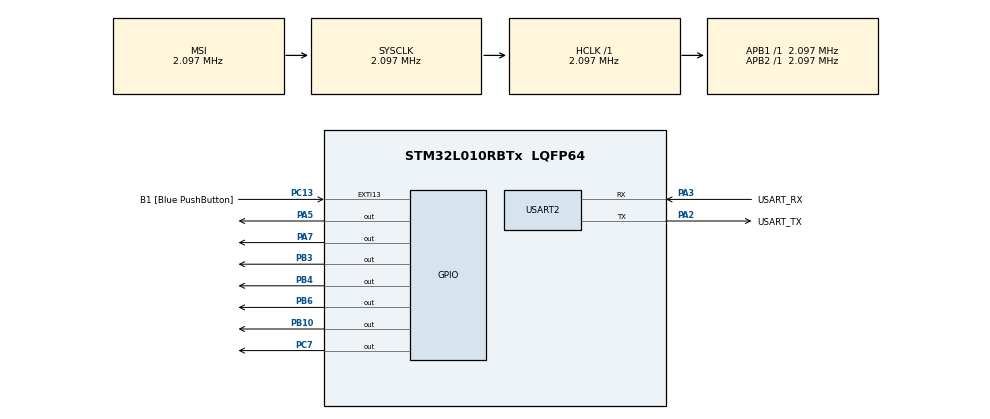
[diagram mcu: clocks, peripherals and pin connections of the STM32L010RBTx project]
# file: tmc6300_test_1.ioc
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Mcu.Family=STM32L0
Mcu.Name=STM32L010RBTx
Mcu.Package=LQFP64
PA13.GPIO_Label=TMS
PA13.Mode=Serial_Wire
PA13.Signal=SYS_SWDIO
PA14.GPIO_Label=TCK
PA14.Mode=Serial_Wire
PA14.Signal=SYS_SWCLK
PA2.GPIO_Label=USART_TX
PA2.Mode=Asynchronous
PA2.Signal=USART2_TX
PA3.GPIO_Label=USART_RX
PA3.Mode=Asynchronous
PA3.Signal=USART2_RX
PA5.Signal=GPIO_Output
PA7.Signal=GPIO_Output
PB10.Signal=GPIO_Output
PB3.Signal=GPIO_Output
PB4.Signal=GPIO_Output
PB6.Signal=GPIO_Output
PC13.GPIO_Label=B1 [Blue PushButton]
PC13.GPIO_ModeDefaultEXTI=GPIO_MODE_IT_FALLING
PC13.Signal=GPXTI13
PC14-OSC32_IN.Mode=LSE-External-Oscillator
PC14-OSC32_IN.Signal=RCC_OSC32_IN
PC15-OSC32_OUT.Mode=LSE-External-Oscillator
PC15-OSC32_OUT.Signal=RCC_OSC32_OUT
PC7.Signal=GPIO_Output
PH0-OSC_IN.GPIO_Label=MCO
PH0-OSC_IN.Mode=HSE-External-Clock-Source
PH0-OSC_IN.Signal=RCC_OSC_IN
ProjectManager.HeapSize=0x200
ProjectManager.StackSize=0x400
ProjectManager.TargetToolchain=STM32CubeIDE
RCC.AHBFreq_Value=2097000
RCC.APB1Freq_Value=2097000
RCC.APB1TimFreq_Value=2097000
RCC.APB2Freq_Value=2097000
RCC.APB2TimFreq_Value=2097000
RCC.HSE_VALUE=8000000
RCC.HSI16_VALUE=16000000
RCC.HSI48_VALUE=48000000
RCC.HSI_VALUE=16000000
RCC.MSI_VALUE=2097000
RCC.SYSCLKFreq_VALUE=2097000
RCC.VCOOutputFreq_Value=48000000
USART2.VirtualMode-Asynchronous=VM_ASYNC
board=NUCLEO-L010RB

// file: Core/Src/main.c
/* USER CODE BEGIN Header */
/**
  ******************************************************************************
  * @file           : main.c
  * @brief          : Main program body
  ******************************************************************************
  * @attention
  *
  * Copyright (c) 2021 STMicroelectronics.
  * All rights reserved.
  *
  * This software is licensed under terms that can be found in the LICENSE file
  * in the root directory of this software component.
  * If no LICENSE file comes with this software, it is provided AS-IS.
  *
  ******************************************************************************
  */
/* USER CODE END Header */
#include "main.h"

UART_HandleTypeDef huart2;

void SystemClock_Config(void);
static void MX_GPIO_Init(void);
static void MX_USART2_UART_Init(void);

int main(void)
{

  /* MCU Configuration--------------------------------------------------------*/

  /* Reset of all peripherals, Initializes the Flash interface and the Systick. */
  HAL_Init();

  /* Configure the system clock */
  SystemClock_Config();

  /* Initialize all configured peripherals */
  MX_GPIO_Init();
  MX_USART2_UART_Init();

  /* Infinite loop */
  while (1)
  {
	/*
	HAL_GPIO_WritePin(GPIOA,GPIO_PIN_5,GPIO_PIN_SET);
	HAL_Delay(100);
	HAL_GPIO_WritePin(GPIOA,GPIO_PIN_5,GPIO_PIN_RESET);
	HAL_Delay(500);
	*/
    /* USER CODE BEGIN 3 */

	HAL_GPIO_WritePin(GPIOA,GPIO_PIN_7,GPIO_PIN_SET);
	HAL_GPIO_WritePin(GPIOB,GPIO_PIN_10,GPIO_PIN_SET);
	HAL_Delay(1);

	HAL_GPIO_WritePin(GPIOB,GPIO_PIN_10,GPIO_PIN_RESET);
	HAL_GPIO_WritePin(GPIOB,GPIO_PIN_3,GPIO_PIN_SET);
	HAL_Delay(1);

	HAL_GPIO_WritePin(GPIOA,GPIO_PIN_7,GPIO_PIN_RESET);
	HAL_GPIO_WritePin(GPIOC,GPIO_PIN_7,GPIO_PIN_SET);
	HAL_Delay(1);

	HAL_GPIO_WritePin(GPIOB,GPIO_PIN_3,GPIO_PIN_RESET);
	HAL_GPIO_WritePin(GPIOB,GPIO_PIN_6,GPIO_PIN_SET);
	HAL_Delay(1);

	HAL_GPIO_WritePin(GPIOC,GPIO_PIN_7,GPIO_PIN_RESET);
	HAL_GPIO_WritePin(GPIOB,GPIO_PIN_4,GPIO_PIN_SET);
	HAL_Delay(1);

	HAL_GPIO_WritePin(GPIOB,GPIO_PIN_6,GPIO_PIN_RESET);
	HAL_GPIO_WritePin(GPIOB,GPIO_PIN_10,GPIO_PIN_SET);
	HAL_Delay(1);

  }
  /* USER CODE END 3 */
}

void SystemClock_Config(void)
{
  RCC_OscInitTypeDef RCC_OscInitStruct = {0};
  RCC_ClkInitTypeDef RCC_ClkInitStruct = {0};
  RCC_PeriphCLKInitTypeDef PeriphClkInit = {0};

  /** Configure the main internal regulator output voltage
  */
  __HAL_PWR_VOLTAGESCALING_CONFIG(PWR_REGULATOR_VOLTAGE_SCALE1);
  /** Initializes the RCC Oscillators according to the specified parameters
  * in the RCC_OscInitTypeDef structure.
  */
  RCC_OscInitStruct.OscillatorType = RCC_OSCILLATORTYPE_MSI;
  RCC_OscInitStruct.MSIState = RCC_MSI_ON;
  RCC_OscInitStruct.MSICalibrationValue = 0;
  RCC_OscInitStruct.MSIClockRange = RCC_MSIRANGE_5;
  RCC_OscInitStruct.PLL.PLLState = RCC_PLL_NONE;
  if (HAL_RCC_OscConfig(&RCC_OscInitStruct) != HAL_OK)
  {
    Error_Handler();
  }
  /** Initializes the CPU, AHB and APB buses clocks
  */
  RCC_ClkInitStruct.ClockType = RCC_CLOCKTYPE_HCLK|RCC_CLOCKTYPE_SYSCLK
                              |RCC_CLOCKTYPE_PCLK1|RCC_CLOCKTYPE_PCLK2;
  RCC_ClkInitStruct.SYSCLKSource = RCC_SYSCLKSOURCE_MSI;
  RCC_ClkInitStruct.AHBCLKDivider = RCC_SYSCLK_DIV1;
  RCC_ClkInitStruct.APB1CLKDivider = RCC_HCLK_DIV1;
  RCC_ClkInitStruct.APB2CLKDivider = RCC_HCLK_DIV1;

  if (HAL_RCC_ClockConfig(&RCC_ClkInitStruct, FLASH_LATENCY_0) != HAL_OK)
  {
    Error_Handler();
  }
  PeriphClkInit.PeriphClockSelection = RCC_PERIPHCLK_USART2;
  PeriphClkInit.Usart2ClockSelection = RCC_USART2CLKSOURCE_PCLK1;
  if (HAL_RCCEx_PeriphCLKConfig(&PeriphClkInit) != HAL_OK)
  {
    Error_Handler();
  }
}

static void MX_USART2_UART_Init(void)
{

  huart2.Instance = USART2;
  huart2.Init.BaudRate = 115200;
  huart2.Init.WordLength = UART_WORDLENGTH_8B;
  huart2.Init.StopBits = UART_STOPBITS_1;
  huart2.Init.Parity = UART_PARITY_NONE;
  huart2.Init.Mode = UART_MODE_TX_RX;
  huart2.Init.HwFlowCtl = UART_HWCONTROL_NONE;
  huart2.Init.OverSampling = UART_OVERSAMPLING_16;
  huart2.Init.OneBitSampling = UART_ONE_BIT_SAMPLE_DISABLE;
  huart2.AdvancedInit.AdvFeatureInit = UART_ADVFEATURE_NO_INIT;
  if (HAL_UART_Init(&huart2) != HAL_OK)
  {
    Error_Handler();
  }

}

static void MX_GPIO_Init(void)
{
  GPIO_InitTypeDef GPIO_InitStruct = {0};

  /* GPIO Ports Clock Enable */
  __HAL_RCC_GPIOC_CLK_ENABLE();
  __HAL_RCC_GPIOH_CLK_ENABLE();
  __HAL_RCC_GPIOA_CLK_ENABLE();
  __HAL_RCC_GPIOB_CLK_ENABLE();

  /*Configure GPIO pin Output Level */
  HAL_GPIO_WritePin(GPIOA, GPIO_PIN_5|GPIO_PIN_7, GPIO_PIN_RESET);

  /*Configure GPIO pin Output Level */
  HAL_GPIO_WritePin(GPIOB, GPIO_PIN_10|GPIO_PIN_3|GPIO_PIN_4|GPIO_PIN_6, GPIO_PIN_RESET);

  /*Configure GPIO pin Output Level */
  HAL_GPIO_WritePin(GPIOC, GPIO_PIN_7, GPIO_PIN_RESET);

  /*Configure GPIO pin : B1_Pin */
  GPIO_InitStruct.Pin = B1_Pin;
  GPIO_InitStruct.Mode = GPIO_MODE_IT_FALLING;
  GPIO_InitStruct.Pull = GPIO_NOPULL;
  HAL_GPIO_Init(B1_GPIO_Port, &GPIO_InitStruct);

  /*Configure GPIO pins : PA5 PA7 */
  GPIO_InitStruct.Pin = GPIO_PIN_5|GPIO_PIN_7;
  GPIO_InitStruct.Mode = GPIO_MODE_OUTPUT_PP;
  GPIO_InitStruct.Pull = GPIO_NOPULL;
  GPIO_InitStruct.Speed = GPIO_SPEED_FREQ_LOW;
  HAL_GPIO_Init(GPIOA, &GPIO_InitStruct);

  /*Configure GPIO pins : PB10 PB3 PB4 PB6 */
  GPIO_InitStruct.Pin = GPIO_PIN_10|GPIO_PIN_3|GPIO_PIN_4|GPIO_PIN_6;
  GPIO_InitStruct.Mode = GPIO_MODE_OUTPUT_PP;
  GPIO_InitStruct.Pull = GPIO_NOPULL;
  GPIO_InitStruct.Speed = GPIO_SPEED_FREQ_LOW;
  HAL_GPIO_Init(GPIOB, &GPIO_InitStruct);

  /*Configure GPIO pin : PC7 */
  GPIO_InitStruct.Pin = GPIO_PIN_7;
  GPIO_InitStruct.Mode = GPIO_MODE_OUTPUT_PP;
  GPIO_InitStruct.Pull = GPIO_NOPULL;
  GPIO_InitStruct.Speed = GPIO_SPEED_FREQ_LOW;
  HAL_GPIO_Init(GPIOC, &GPIO_InitStruct);

}

void Error_Handler(void)
{
  __disable_irq();
  while (1)
  {
  }
}
